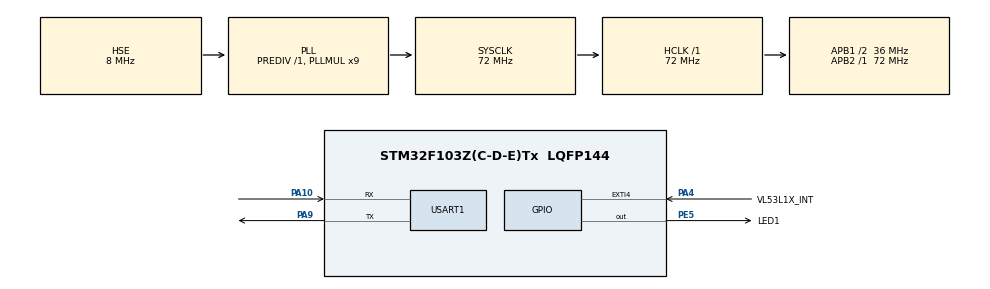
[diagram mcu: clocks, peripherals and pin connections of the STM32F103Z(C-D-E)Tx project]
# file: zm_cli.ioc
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Dma.Request0=USART1_RX
Dma.USART1_RX.0.Direction=DMA_PERIPH_TO_MEMORY
Dma.USART1_RX.0.Instance=DMA1_Channel5
Dma.USART1_RX.0.MemDataAlignment=DMA_MDATAALIGN_BYTE
Dma.USART1_RX.0.MemInc=DMA_MINC_ENABLE
Dma.USART1_RX.0.Mode=DMA_NORMAL
Dma.USART1_RX.0.PeriphDataAlignment=DMA_PDATAALIGN_BYTE
Dma.USART1_RX.0.PeriphInc=DMA_PINC_DISABLE
Dma.USART1_RX.0.Priority=DMA_PRIORITY_LOW
Mcu.Family=STM32F1
Mcu.Name=STM32F103Z(C-D-E)Tx
Mcu.Package=LQFP144
NVIC.DMA1_Channel5_IRQn=true\:0\:0\:false\:false\:true\:false\:true
NVIC.PriorityGroup=NVIC_PRIORITYGROUP_4
NVIC.USART1_IRQn=true\:0\:0\:false\:false\:true\:true\:true
OSC_IN.Mode=HSE-External-Oscillator
OSC_IN.Signal=RCC_OSC_IN
OSC_OUT.Mode=HSE-External-Oscillator
OSC_OUT.Signal=RCC_OSC_OUT
PA10.Mode=Asynchronous
PA10.Signal=USART1_RX
PA13.Mode=Serial_Wire
PA13.Signal=SYS_JTMS-SWDIO
PA14.Mode=Serial_Wire
PA14.Signal=SYS_JTCK-SWCLK
PA4.GPIO_Label=VL53L1X_INT
PA4.GPIO_ModeDefaultEXTI=GPIO_MODE_IT_FALLING
PA4.GPIO_PuPd=GPIO_PULLUP
PA4.Signal=GPXTI4
PA9.Mode=Asynchronous
PA9.Signal=USART1_TX
PC14-OSC32_IN.Mode=LSE-External-Oscillator
PC14-OSC32_IN.Signal=RCC_OSC32_IN
PC15-OSC32_OUT.Mode=LSE-External-Oscillator
PC15-OSC32_OUT.Signal=RCC_OSC32_OUT
PE5.GPIO_Label=LED1
PE5.GPIO_Speed=GPIO_SPEED_FREQ_HIGH
PE5.Signal=GPIO_Output
ProjectManager.HeapSize=0x200
ProjectManager.StackSize=0x400
ProjectManager.TargetToolchain=MDK-ARM V5
RCC.AHBFreq_Value=72000000
RCC.APB1CLKDivider=RCC_HCLK_DIV2
RCC.APB1Freq_Value=36000000
RCC.APB1TimFreq_Value=72000000
RCC.APB2Freq_Value=72000000
RCC.APB2TimFreq_Value=72000000
RCC.HCLKFreq_Value=72000000
RCC.PLLMUL=RCC_PLL_MUL9
RCC.PLLSourceVirtual=RCC_PLLSOURCE_HSE
RCC.SYSCLKFreq_VALUE=72000000
RCC.SYSCLKSource=RCC_SYSCLKSOURCE_PLLCLK
RCC.USBFreq_Value=72000000
USART1.VirtualMode=VM_ASYNC
board=custom

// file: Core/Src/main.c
/* USER CODE BEGIN Header */
/**
  ******************************************************************************
  * @file           : main.c
  * @brief          : Main program body
  ******************************************************************************
  * @attention
  *
  * <h2><center>&copy; Copyright (c) 2020 STMicroelectronics.
  * All rights reserved.</center></h2>
  *
  * This software component is licensed by ST under BSD 3-Clause license,
  * the "License"; You may not use this file except in compliance with the
  * License. You may obtain a copy of the License at:
  *                        opensource.org/licenses/BSD-3-Clause
  *
  ******************************************************************************
  */
/* USER CODE END Header */
#include "main.h"
#include "dma.h"
#include "usart.h"
#include "gpio.h"

/* USER CODE BEGIN Includes */
#include "stdio.h"
#include "zm_cli.h"
/* USER CODE END Includes */

/* USER CODE BEGIN PD */
#define CLI_NAME "test cli >"
/* USER CODE END PD */

/* USER CODE BEGIN PV */
struct cli_buf_t
{
    uint8_t buf[256];
    uint8_t wpos;
    uint8_t rpos;
    uint16_t len;
}cli_data = {
    .wpos = 0,
    .rpos = 0,
    .len = 0
};

static void uartRecvHandler(uint8_t *buf, uint16_t len)
{
    uint16_t cnt = 0;

    for(cnt = 0; cnt < len; cnt++)
    {
        cli_data.buf[cli_data.wpos++] = buf[cnt];
    }
    cli_data.len += cnt;
}

static int test_write(const void *a_data, uint16_t length)
{
    HAL_UART_Transmit(&huart1, (uint8_t *)a_data, length, 0x10);
    return length;
}
static int test_read(void *a_buf, uint16_t length)
{
    uint16_t cnt = 0;
    uint8_t *p = (uint8_t *)a_buf;
    if(cli_data.len)
    {
        for(cnt = 0; cnt < length; cnt++)
        {
            p[cnt] = cli_data.buf[cli_data.rpos++];
        }
        cli_data.len -= cnt;
    }
    return cnt;
}
static cli_trans_api_t trans_api =
{
  .write = test_write,
  .read = test_read
};

static void cli_print_hello(zm_cli_t const * p_cli, size_t argc, char **argv)
{
    p_cli->m_printf_ctx->printf(p_cli, ZM_CLI_NORMAL, "hello\n");
}

static void cli_print_world(zm_cli_t const * p_cli, size_t argc, char **argv)
{
    p_cli->m_printf_ctx->printf(p_cli, ZM_CLI_NORMAL, "world\n");
}
static void cli_print_help(zm_cli_t const * p_cli, size_t argc, char **argv)
{
    print_usage(p_cli, argv[0], "<-h : get help> [--help]");
}

ZM_CLI_DEF(zm_cli, CLI_NAME, trans_api);

CLI_CREATE_STATIC_SUBCMD_SET(sub_2)
{
    CLI_CMD_LOAD_PARA(print_world, NULL, "printf word", cli_print_world),
    CLI_CMD_LOAD_PARA(help, NULL, "test help", cli_print_help),

    CLI_SUBCMD_SET_END
};

CLI_CREATE_STATIC_SUBCMD_SET(sub_1)
{
    CLI_CMD_LOAD_PARA(print_hello, NULL, "print hello", cli_print_hello),
    CLI_CMD_LOAD_PARA(print_2, &sub_2, "test print", NULL),

    CLI_SUBCMD_SET_END
};

CLI_CMD_REGISTER(print, &sub_1, "print", NULL);

/* USER CODE END PV */

void SystemClock_Config(void);

/* USER CODE BEGIN 0 */
int fputc(int ch, FILE *f)
{
  HAL_UART_Transmit(&huart1, (uint8_t *)&ch, 1, 0xFFFF);
  return (ch);
}
/* USER CODE END 0 */

int main(void)
{

  /* MCU Configuration--------------------------------------------------------*/

  /* Reset of all peripherals, Initializes the Flash interface and the Systick. */
  HAL_Init();

  /* Configure the system clock */
  SystemClock_Config();

  /* Initialize all configured peripherals */
  MX_GPIO_Init();
  MX_DMA_Init();
  MX_USART1_UART_Init();
  /* USER CODE BEGIN 2 */
  uartReceiveInit(uartRecvHandler);
  uartStartReceive();

  zm_cli_init(&zm_cli);
  printf("\r\nsystem initialize success!!!\r\n");
  zm_cli_start(&zm_cli);
  /* USER CODE END 2 */

  /* Infinite loop */
  while (1)
  {

    /* USER CODE BEGIN 3 */
    zm_cli_process(&zm_cli);
    if((HAL_GetTick() % 1000) ==0)
        HAL_GPIO_TogglePin(LED1_GPIO_Port, LED1_Pin);
  }
  /* USER CODE END 3 */
}

void SystemClock_Config(void)
{
  RCC_OscInitTypeDef RCC_OscInitStruct = {0};
  RCC_ClkInitTypeDef RCC_ClkInitStruct = {0};

  /** Initializes the RCC Oscillators according to the specified parameters
  * in the RCC_OscInitTypeDef structure.
  */
  RCC_OscInitStruct.OscillatorType = RCC_OSCILLATORTYPE_HSE;
  RCC_OscInitStruct.HSEState = RCC_HSE_ON;
  RCC_OscInitStruct.HSEPredivValue = RCC_HSE_PREDIV_DIV1;
  RCC_OscInitStruct.HSIState = RCC_HSI_ON;
  RCC_OscInitStruct.PLL.PLLState = RCC_PLL_ON;
  RCC_OscInitStruct.PLL.PLLSource = RCC_PLLSOURCE_HSE;
  RCC_OscInitStruct.PLL.PLLMUL = RCC_PLL_MUL9;
  if (HAL_RCC_OscConfig(&RCC_OscInitStruct) != HAL_OK)
  {
    Error_Handler();
  }
  /** Initializes the CPU, AHB and APB buses clocks
  */
  RCC_ClkInitStruct.ClockType = RCC_CLOCKTYPE_HCLK|RCC_CLOCKTYPE_SYSCLK
                              |RCC_CLOCKTYPE_PCLK1|RCC_CLOCKTYPE_PCLK2;
  RCC_ClkInitStruct.SYSCLKSource = RCC_SYSCLKSOURCE_PLLCLK;
  RCC_ClkInitStruct.AHBCLKDivider = RCC_SYSCLK_DIV1;
  RCC_ClkInitStruct.APB1CLKDivider = RCC_HCLK_DIV2;
  RCC_ClkInitStruct.APB2CLKDivider = RCC_HCLK_DIV1;

  if (HAL_RCC_ClockConfig(&RCC_ClkInitStruct, FLASH_LATENCY_2) != HAL_OK)
  {
    Error_Handler();
  }
}

void Error_Handler(void)
{
}

/************************ (C) COPYRIGHT STMicroelectronics *****END OF FILE****/
